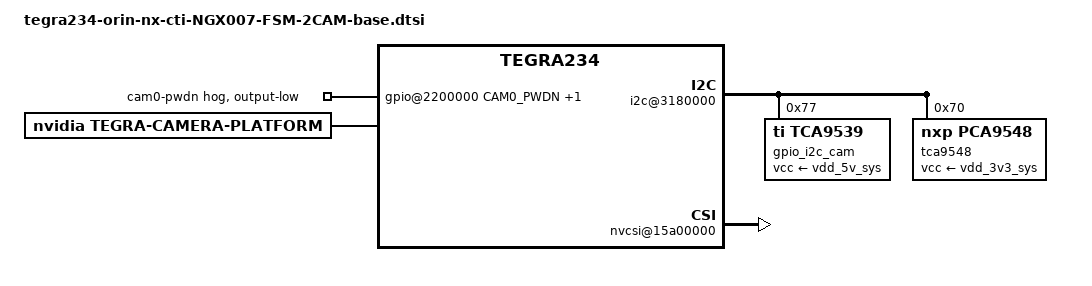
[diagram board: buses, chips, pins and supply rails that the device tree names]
/*
 * Copyright (c) 2023, Connect Tech Inc.  All rights reserved.
 *
 * This program is free software; you can redistribute it and/or modify it
 * under the terms and conditions of the GNU General Public License,
 * version 2, as published by the Free Software Foundation.
 *
 * This program is distributed in the hope it will be useful, but WITHOUT
 * ANY WARRANTY; without even the implied warranty of MERCHANTABILITY or
 * FITNESS FOR A PARTICULAR PURPOSE.  See the GNU General Public License for
 * more details.
 *
 * You should have received a copy of the GNU General Public License
 * along with this program.  If not, see <http://www.gnu.org/licenses/>.
 */

#include "dt-bindings/gpio/tegra234-gpio.h"

#define CAM0_PWDN	TEGRA234_MAIN_GPIO(H, 6)
#define CAM1_PWDN	TEGRA234_MAIN_GPIO(AC, 0)

/* PCA9539 Pxx bus-port define*/
#define CAM0_RST_0      0
#define CAM1_RST_0      2
#define CAM2_RST_0      4
#define CAM0_PWDN_1     1 //creset camA
#define CAM1_PWDN_1     3 //creset camB
#define CAM2_PWDN_0     5
#define CAM2_PWDN_1     6 //creset camC
#define CAM3_RST_0      7
#define CAM3_PWDN_0     8
#define CAM3_PWDN_1     9 //creset camD
#define MIPI_SW_SEL     10 // P12

#define CAMERA_I2C_MUX_BUS(x) (0x1E + x)

/ {
		//GPIO controller nodes
		
		i2c@3180000{
			gpio_i2c_cam: gpio@77 {
				status = "okay";
				compatible = "ti,tca9539";
				reg = <0x77>;
				gpio-controller;
				#gpio-cells = <2>;
				#address-cells = <1>;
				#size-cells = <0>;
				vcc-supply = <&vdd_5v_sys>; //battery_reg
				camera-rst{
					gpio-hog;
					output-low;
					gpios = <0 0 2 0 4 0 7 0 10 0>;
					label = "cam0_rst", "cam1_rst", "cam2_rst", "cam3_rst", "mipi_sel";
				};
				camera-pwr{
					gpio-hog;
					output-high;
					gpios = <1 0 3 0 5 0 6 0 8 0 9 0>;
					label = "cam0_pw1", "cam1_pw1", "cam2_pw0", "cam2_pw1", "cam3_pw0", "cam3_pw1";
				};
			};
			tca9548@70 {
				compatible = "nxp,pca9548";
				reg = <0x70>;
				#address-cells = <1>;
				#size-cells = <0>;
				skip_mux_detect;
				vcc-supply = <&vdd_3v3_sys>;
				force_bus_start = <CAMERA_I2C_MUX_BUS(0)>;
				status = "okay";	
				i2c@0 {
						reg = <0>;
						i2c-mux,deselect-on-exit;
						#address-cells = <1>;
						#size-cells = <0>;
						status = "okay";
				};
				i2c@1 {
					reg = <1>;
					i2c-mux,deselect-on-exit;
					#address-cells = <1>;
					#size-cells = <0>;
					status = "okay";		
				};				
			};
		};
	
		framos_platform_adapter {
			cam,use-cam-gpio = "true"; 
		};
		
		gpio@2200000 {
			status = "okay";
			camera-control-output-low {
				gpio-hog;
				output-low;
				gpios = <CAM0_PWDN 0 CAM1_PWDN 0>;
				label = "cam0-pwdn", "cam1-pwdn";
				status = "okay";
				};
		};
			
		tegra-capture-vi {
			num-channels = <2>;
			status = "okay";
			ports {
				#address-cells = <1>;
				#size-cells = <0>;
				port@0 {
					status = "okay";
					reg = <0>;
					vi_in0: endpoint {
						status = "okay";
						port-index = <0>;
						bus-width = <4>;
						remote-endpoint = <&csi_out0>;
					};
				};
				port@1 {
					status = "okay";
					reg = <1>;
					vi_in1: endpoint {
						status = "okay";
						port-index = <2>;
						bus-width = <4>;
						remote-endpoint = <&csi_out1>;
					};
				};

			};
		};

	host1x@13e00000 {
		nvcsi@15a00000 {
			num-channels = <2>;
			#address-cells = <1>;
			#size-cells = <0>;
			status = "okay";
			channel@0 {
				status = "okay";
				reg = <0>;
				ports {
					#address-cells = <1>;
					#size-cells = <0>;
					status = "okay";
					port@0 {
						status = "okay";
						reg = <0>;
						csi_in0: endpoint@0 {
							status = "okay";
							port-index = <0>;
							bus-width = <4>;
							remote-endpoint = <&vi_out0>;
						};
					};
					port@1 {
						status = "okay";
						reg = <1>;
						csi_out0: endpoint@1 {
							remote-endpoint = <&vi_in0>;
						};
					};
				};
			};
			channel@1 {
				status = "okay";
				reg = <1>;
				ports {
					#address-cells = <1>;
					#size-cells = <0>;
					status = "okay";
					port@0 {
						status = "okay";
						reg = <0>;
						csi_in1: endpoint@2 {
							status = "okay";
							port-index = <2>;
							bus-width = <4>;
							remote-endpoint = <&vi_out1>;
						};
					};
					port@1 {
						status = "okay";
						reg = <1>;
						csi_out1: endpoint@3 {
							remote-endpoint = <&vi_in1>;
						};
					};
				};
			};

		};
	};

	tegra-camera-platform {
		compatible = "nvidia, tegra-camera-platform";

		num_csi_lanes = <8>;
		max_lane_speed = <1500000>;
		min_bits_per_pixel = <10>;
		vi_peak_byte_per_pixel = <2>;
		vi_bw_margin_pct = <25>;
		max_pixel_rate = <240000>;
		isp_peak_byte_per_pixel = <5>;
		isp_bw_margin_pct = <25>;
	};
};
